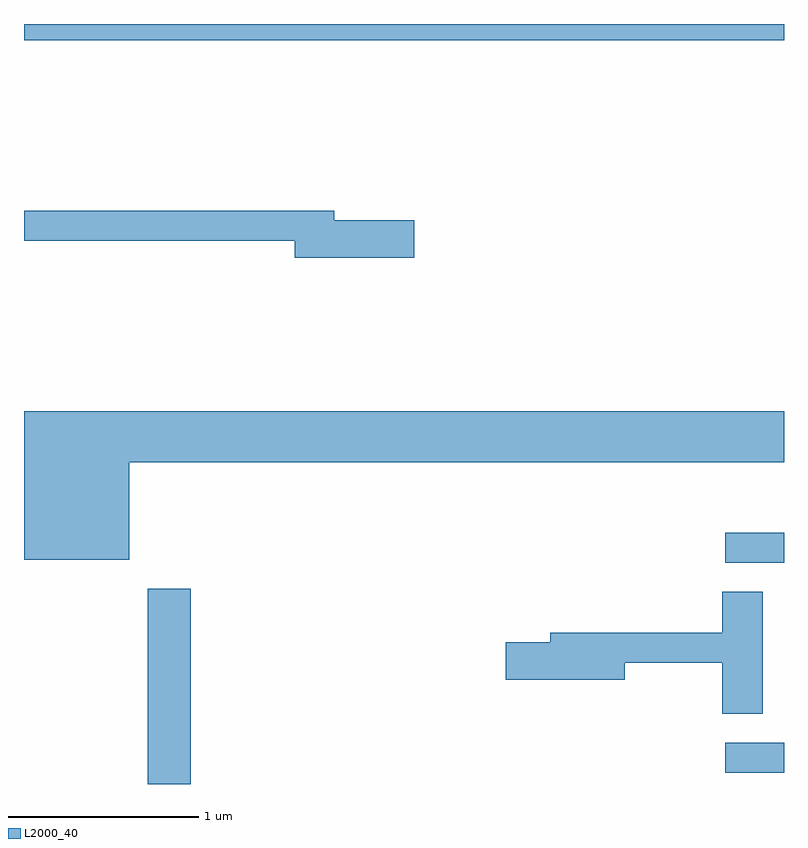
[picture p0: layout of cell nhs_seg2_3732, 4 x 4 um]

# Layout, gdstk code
import gdstk
lib = gdstk.Library(unit=1e-6, precision=1e-09)
def R(c, l, rs):  # rectangles x0, y0, x1, y1
    for r in rs: c.add(gdstk.rectangle(r[:2], r[2:], *l))
def P(c, l, *ps):  # polygons
    for p in ps: c.add(gdstk.Polygon(p, *l))
L2000_40 = (2000, 40)

nhs_seg2_3732 = lib.new_cell('nhs_seg2_3732')
R(nhs_seg2_3732, L2000_40, [(296.261,977.802,296.489,978.829), (299.303,977.861,299.611,978.019), (299.303,978.966,299.611,979.124), (295.611,981.716,299.611,981.802)])
P(nhs_seg2_3732, L2000_40, [(297.664,980.769),(297.244,980.769),(297.244,980.819),(295.611,980.819),(295.611,980.661),(297.036,980.661),(297.036,980.571),(297.664,980.571)],
  [(296.164,979.496),(299.611,979.496),(299.611,979.764),(295.611,979.764),(295.611,978.981),(296.164,978.981)],
  [(299.499,978.814),(299.286,978.814),(299.286,978.599),(298.381,978.599),(298.381,978.549),(298.146,978.549),(298.146,978.351),(298.774,978.351),(298.774,978.441),(299.286,978.441),(299.286,978.171),(299.499,978.171)])

lib.write_gds('nhs_seg2_3732.gds')
